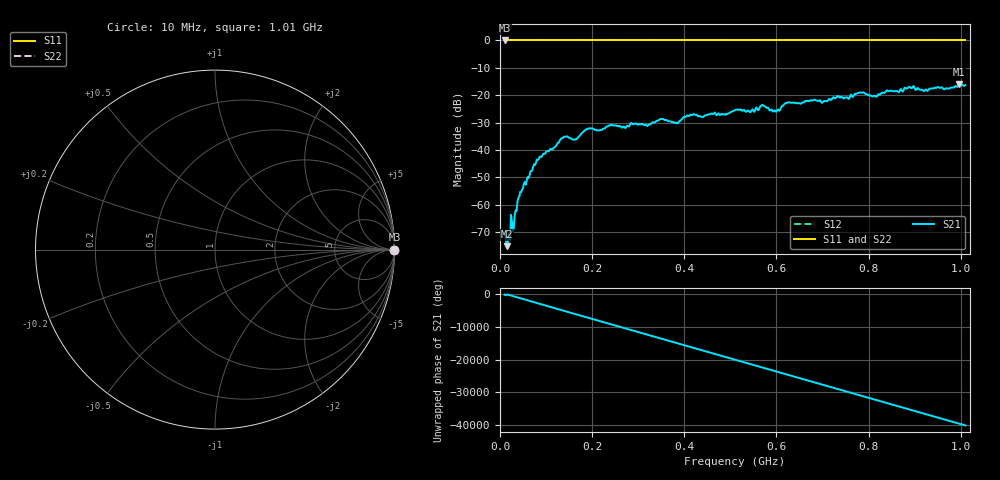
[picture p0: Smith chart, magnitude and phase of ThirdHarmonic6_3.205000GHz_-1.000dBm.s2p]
! 8/17/2025 9:44:40 AM
! C:\ANRITSUVNA\TEMP\TEMP.S2P
! CHANNEL.1
! TR.MEASUREMENT
! RAW.DATA
! RF.CORRECTION.OFF
! AVERAGING.OFF
! IF.BANDWIDTH: 5KHZ
! SWEEPTYPE:  FREQ.SWEEP(Linear)
! Reference Plane Port Info
! PORT:  PORT1  PORT2
! DISTANCE:  0  m  0  m
! TIME:  0  s  0  s
! PHASE.OFFSET:  0  deg.  0  deg.
! LOSS:  0  dB  0  dB
! REF.LOSS:  0  dB  0  dB
! REF.FREQ:  0  Hz  0  Hz
! Power Info
! POWER:  -20  dBm  -20  dBm
! EFF.POWER:  -20  dBm  -20  dBm
! SOURCE.ATTEN:  0  dB  0  dB
! TEST.ATTEN:  0  dB  0  dB
# GHZ S RI R 50.0
! FREQ.GHZ  S11RE  S11IM  S21RE  S21IM  S12RE  S12IM  S22RE  S22IM
!; PortSelection: Port_12
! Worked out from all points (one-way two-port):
!   501 points, 10 MHz to 1.01 GHz, reference 50 ohm
!   highest |S21| = -15.98 dB at 996 MHz (marker M1); lowest = -75.1 dB at 16 MHz (marker M2)
!   lowest |S11| = 0.0 dB at 10 MHz (marker M3)
!   |S11| at or under -10 dB: nowhere
!   |S22| runs from 0.0 to 0.0 dB; largest |S21 - S12| = 1.1
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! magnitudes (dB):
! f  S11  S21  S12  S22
! 10 MHz  0.0  -70.1  0.0  0.0
! 16 MHz  0.0  -75.1  0.0  0.0
! 32 MHz  0.0  -63.6  0.0  0.0
! 42 MHz  0.0  -56.9  0.0  0.0
! 82 MHz  0.0  -43.6  0.0  0.0
! 136 MHz  0.0  -35.7  0.0  0.0
! 162 MHz  0.0  -36.2  0.0  0.0
! 178 MHz  0.0  -33.7  0.0  0.0
! 344 MHz  0.0  -29.2  0.0  0.0
! 382 MHz  0.0  -30.0  0.0  0.0
! 416 MHz  0.0  -27.2  0.0  0.0
! 510 MHz  0.0  -25.4  0.0  0.0
! 548 MHz  0.0  -25.1  0.0  0.0
! 570 MHz  0.0  -23.5  0.0  0.0
! 596 MHz  0.0  -25.5  0.0  0.0
! 622 MHz  0.0  -22.8  0.0  0.0
! 678 MHz  0.0  -21.9  0.0  0.0
! 784 MHz  0.0  -19.1  0.0  0.0
! 814 MHz  0.0  -20.2  0.0  0.0
! 844 MHz  0.0  -18.5  0.0  0.0
! 996 MHz  0.0  -16.0  0.0  0.0
! 1.01 GHz  0.0  -16.3  0.0  0.0
